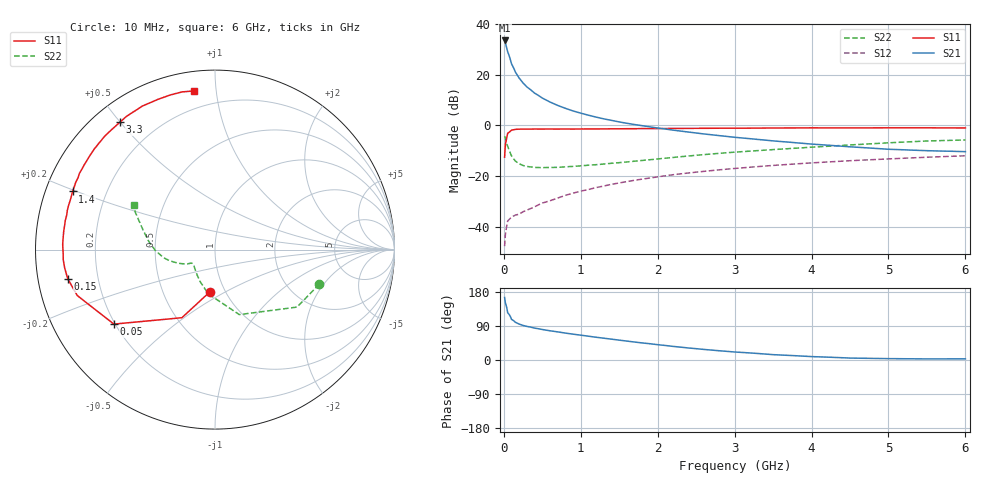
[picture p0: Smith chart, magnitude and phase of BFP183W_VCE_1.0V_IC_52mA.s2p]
! Infineon Technologies  Discrete & RF Semiconductors
! BFP183W
! VCE =  1.0 V,  IC =  52 mA
! Common Emitter S-Parameters:  Jan 2017
# GHz  S  MA  R  50
!  f  S11  S21  S12  S22
! GHz  MAG  ANG  MAG  ANG  MAG  ANG  MAG  ANG
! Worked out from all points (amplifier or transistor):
!   77 points, 10 MHz to 6 GHz, reference 50 ohm
!   highest |S21| = 33.6 dB at 10 MHz (marker M1)
!   |S21| within 3 dB of that: start of sweep to 37.43 MHz
!   unconditionally stable (mu >= 1): start of sweep to 16.69 MHz; 222.2 MHz to end of sweep
!   at 130 MHz: K = 0.70, MSG = 29.2 dB, |S12| = -35.8 dB
!   at 2.2 GHz: K = 1.46, MAG = 4.8 dB, |S12| = -19.5 dB
!   at 6 GHz: K = 1.40, MAG = -2.9 dB, |S12| = -12.0 dB
!   S11 on the Smith chart (normalised r, x): 10 MHz: 0.85, -0.42; 50 MHz: 0.20, -0.32; 150 MHz: 0.09, -0.10; 1.4 GHz: 0.08, +0.19; 3.3 GHz: 0.08, +0.50; 6 GHz: 0.10, +0.87
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0.01  0.2359 -96.7  47.9 165.0  0.0041 67.3  0.6125 -18.3
0.02  0.4217 -115.9  43.31 150.8  0.007 66.5  0.5582 -35.0
0.05  0.6997 -143.6  28.66 124.7  0.0129 42.6  0.3868 -69.5
0.1  0.8092 -161.6  16.52 107.2  0.0154 36.3  0.25 -98.4
0.15  0.8365 -168.8  11.38 99.6  0.0169 35.5  0.1975 -114.5
0.2  0.8439 -173.1  8.607 94.7  0.0176 41.2  0.1746 -124.3
0.25  0.8474 -176.2  6.915 91.2  0.0197 42.2  0.1614 -131.6
0.3  0.8462 -178.4  5.768 88.6  0.0211 46.1  0.1545 -136.6
0.4  0.8491 178.0  4.351 84.1  0.0246 50.6  0.1479 -142.5
0.5  0.8486 175.4  3.479 80.5  0.0292 55.3  0.1464 -146.0
0.6  0.8491 173.1  2.904 77.1  0.0324 58.0  0.1477 -148.3
0.7  0.8484 171.1  2.49 74.2  0.0366 61.0  0.1484 -149.3
0.9  0.8482 166.9  1.934 68.2  0.0458 62.7  0.1552 -150.6
1.1  0.852 163.2  1.593 62.8  0.0541 64.7  0.1636 -151.6
1.4  0.857 157.8  1.259 55.0  0.0686 64.9  0.1786 -153.8
1.7  0.8617 152.3  1.042 47.4  0.0824 63.7  0.1965 -156.4
2.1  0.8693 145.4  0.848 38.3  0.1011 61.4  0.2251 -160.9
3.1  0.8828 129.5  0.565 19.9  0.145 53.7  0.3033 -173.9
3.3  0.8858 126.6  0.529 17.2  0.1534 52.1  0.3178 -176.7
4.1  0.8953 115.6  0.418 8.3  0.1854 45.1  0.3787 171.4
5.1  0.8966 105.2  0.334 3.5  0.2212 36.8  0.461 158.2
6  0.8916 97.4  0.303 3.0  0.2514 29.2  0.5165 150.9
